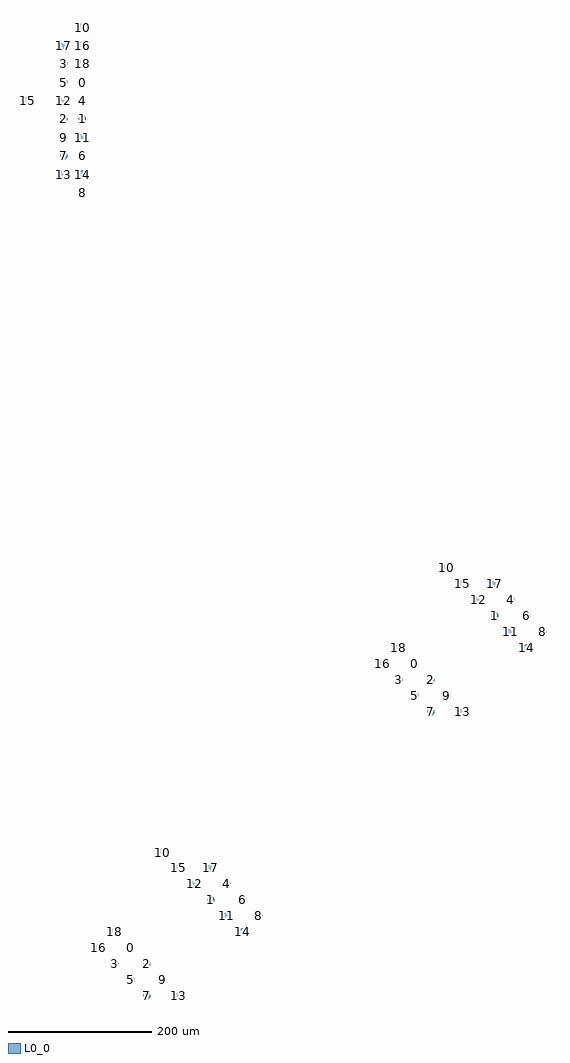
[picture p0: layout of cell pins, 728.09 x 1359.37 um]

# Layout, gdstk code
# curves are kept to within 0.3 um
import gdstk
lib = gdstk.Library(unit=1e-6, precision=1e-09)
def P(c, l, *ps):  # polygons
    for p in ps: c.add(gdstk.Polygon(p, *l))
L0_0 = (0, 0)

pins = lib.new_cell('pins')
P(pins, L0_0, [(4820.42,3707.91),(4820.039,3709.823),(4818.955,3711.445),(4817.333,3712.529),(4815.42,3712.91),(4813.506,3712.529),(4811.884,3711.445),(4810.8,3709.823),(4810.42,3707.91),(4810.8,3705.996),(4811.884,3704.374),(4813.506,3703.29),(4815.42,3702.91),(4817.333,3703.29),(4818.955,3704.374),(4820.039,3705.996)],
  [(5283.57,2897.79),(5283.189,2899.703),(5282.105,2901.325),(5280.483,2902.409),(5278.57,2902.79),(5276.656,2902.409),(5275.034,2901.325),(5273.95,2899.703),(5273.57,2897.79),(5273.95,2895.876),(5275.034,2894.254),(5276.656,2893.17),(5278.57,2892.79),(5280.483,2893.17),(5282.105,2894.254),(5283.189,2895.876)],
  [(4887.9,2502.12),(4887.519,2504.033),(4886.435,2505.655),(4884.813,2506.739),(4882.9,2507.12),(4880.986,2506.739),(4879.364,2505.655),(4878.28,2504.033),(4877.9,2502.12),(4878.28,2500.206),(4879.364,2498.584),(4880.986,2497.5),(4882.9,2497.12),(4884.813,2497.5),(4886.435,2498.584),(4887.519,2500.206)],
  [(4820.42,3656.73),(4820.039,3658.643),(4818.955,3660.265),(4817.333,3661.349),(4815.42,3661.73),(4813.506,3661.349),(4811.884,3660.265),(4810.8,3658.643),(4810.42,3656.73),(4810.8,3654.816),(4811.884,3653.194),(4813.506,3652.11),(4815.42,3651.73),(4817.333,3652.11),(4818.955,3653.194),(4820.039,3654.816)],
  [(5394.92,2964.6),(5394.539,2966.513),(5393.455,2968.135),(5391.833,2969.219),(5389.92,2969.6),(5388.006,2969.219),(5386.384,2968.135),(5385.3,2966.513),(5384.92,2964.6),(5385.3,2962.686),(5386.384,2961.064),(5388.006,2959.98),(5389.92,2959.6),(5391.833,2959.98),(5393.455,2961.064),(5394.539,2962.686)],
  [(4999.25,2568.93),(4998.869,2570.843),(4997.785,2572.465),(4996.163,2573.549),(4994.25,2573.93),(4992.336,2573.549),(4990.714,2572.465),(4989.63,2570.843),(4989.25,2568.93),(4989.63,2567.016),(4990.714,2565.394),(4992.336,2564.31),(4994.25,2563.93),(4996.163,2564.31),(4997.785,2565.394),(4998.869,2567.016)],
  [(4794.83,3656.73),(4794.449,3658.643),(4793.365,3660.265),(4791.743,3661.349),(4789.83,3661.73),(4787.916,3661.349),(4786.294,3660.265),(4785.21,3658.643),(4784.83,3656.73),(4785.21,3654.816),(4786.294,3653.194),(4787.916,3652.11),(4789.83,3651.73),(4791.743,3652.11),(4793.365,3653.194),(4794.449,3654.816)],
  [(5305.84,2875.52),(5305.459,2877.433),(5304.375,2879.055),(5302.753,2880.139),(5300.84,2880.52),(5298.926,2880.139),(5297.304,2879.055),(5296.22,2877.433),(5295.84,2875.52),(5296.22,2873.606),(5297.304,2871.984),(5298.926,2870.9),(5300.84,2870.52),(5302.753,2870.9),(5304.375,2871.984),(5305.459,2873.606)],
  [(4910.17,2479.85),(4909.789,2481.763),(4908.705,2483.385),(4907.083,2484.469),(4905.17,2484.85),(4903.256,2484.469),(4901.634,2483.385),(4900.55,2481.763),(4900.17,2479.85),(4900.55,2477.936),(4901.634,2476.314),(4903.256,2475.23),(4905.17,2474.85),(4907.083,2475.23),(4908.705,2476.314),(4909.789,2477.936)],
  [(4794.83,3733.5),(4794.449,3735.413),(4793.365,3737.035),(4791.743,3738.119),(4789.83,3738.5),(4787.916,3738.119),(4786.294,3737.035),(4785.21,3735.413),(4784.83,3733.5),(4785.21,3731.586),(4786.294,3729.964),(4787.916,3728.88),(4789.83,3728.5),(4791.743,3728.88),(4793.365,3729.964),(4794.449,3731.586)],
  [(5261.29,2875.52),(5260.909,2877.433),(5259.825,2879.055),(5258.203,2880.139),(5256.29,2880.52),(5254.376,2880.139),(5252.754,2879.055),(5251.67,2877.433),(5251.29,2875.52),(5251.67,2873.606),(5252.754,2871.984),(5254.376,2870.9),(5256.29,2870.52),(5258.203,2870.9),(5259.825,2871.984),(5260.909,2873.606)],
  [(4865.62,2479.85),(4865.239,2481.763),(4864.155,2483.385),(4862.533,2484.469),(4860.62,2484.85),(4858.706,2484.469),(4857.084,2483.385),(4856,2481.763),(4855.62,2479.85),(4856,2477.936),(4857.084,2476.314),(4858.706,2475.23),(4860.62,2474.85),(4862.533,2475.23),(4864.155,2476.314),(4865.239,2477.936)],
  [(4820.42,3682.32),(4820.039,3684.233),(4818.955,3685.855),(4817.333,3686.939),(4815.42,3687.32),(4813.506,3686.939),(4811.884,3685.855),(4810.8,3684.233),(4810.42,3682.32),(4810.8,3680.406),(4811.884,3678.784),(4813.506,3677.7),(4815.42,3677.32),(4817.333,3677.7),(4818.955,3678.784),(4820.039,3680.406)],
  [(5417.2,2986.87),(5416.819,2988.783),(5415.735,2990.405),(5414.113,2991.489),(5412.2,2991.87),(5410.286,2991.489),(5408.664,2990.405),(5407.58,2988.783),(5407.2,2986.87),(5407.58,2984.956),(5408.664,2983.334),(5410.286,2982.25),(5412.2,2981.87),(5414.113,2982.25),(5415.735,2983.334),(5416.819,2984.956)],
  [(5021.53,2591.2),(5021.149,2593.113),(5020.065,2594.735),(5018.443,2595.819),(5016.53,2596.2),(5014.616,2595.819),(5012.994,2594.735),(5011.91,2593.113),(5011.53,2591.2),(5011.91,2589.286),(5012.994,2587.664),(5014.616,2586.58),(5016.53,2586.2),(5018.443,2586.58),(5020.065,2587.664),(5021.149,2589.286)],
  [(4794.83,3707.91),(4794.449,3709.823),(4793.365,3711.445),(4791.743,3712.529),(4789.83,3712.91),(4787.916,3712.529),(4786.294,3711.445),(4785.21,3709.823),(4784.83,3707.91),(4785.21,3705.996),(4786.294,3704.374),(4787.916,3703.29),(4789.83,3702.91),(4791.743,3703.29),(4793.365,3704.374),(4794.449,3705.996)],
  [(5283.57,2853.24),(5283.189,2855.153),(5282.105,2856.775),(5280.483,2857.859),(5278.57,2858.24),(5276.656,2857.859),(5275.034,2856.775),(5273.95,2855.153),(5273.57,2853.24),(5273.95,2851.326),(5275.034,2849.704),(5276.656,2848.62),(5278.57,2848.24),(5280.483,2848.62),(5282.105,2849.704),(5283.189,2851.326)],
  [(4887.9,2457.57),(4887.519,2459.483),(4886.435,2461.105),(4884.813,2462.189),(4882.9,2462.57),(4880.986,2462.189),(4879.364,2461.105),(4878.28,2459.483),(4877.9,2457.57),(4878.28,2455.656),(4879.364,2454.034),(4880.986,2452.95),(4882.9,2452.57),(4884.813,2452.95),(4886.435,2454.034),(4887.519,2455.656)],
  [(4820.42,3605.54),(4820.039,3607.453),(4818.955,3609.075),(4817.333,3610.159),(4815.42,3610.54),(4813.506,3610.159),(4811.884,3609.075),(4810.8,3607.453),(4810.42,3605.54),(4810.8,3603.626),(4811.884,3602.004),(4813.506,3600.92),(4815.42,3600.54),(4817.333,3600.92),(4818.955,3602.004),(4820.039,3603.626)],
  [(5439.46,2964.61),(5439.079,2966.523),(5437.995,2968.145),(5436.373,2969.229),(5434.46,2969.61),(5432.546,2969.229),(5430.924,2968.145),(5429.84,2966.523),(5429.46,2964.61),(5429.84,2962.696),(5430.924,2961.074),(5432.546,2959.99),(5434.46,2959.61),(5436.373,2959.99),(5437.995,2961.074),(5439.079,2962.696)],
  [(5043.79,2568.94),(5043.409,2570.853),(5042.325,2572.475),(5040.703,2573.559),(5038.79,2573.94),(5036.876,2573.559),(5035.254,2572.475),(5034.17,2570.853),(5033.79,2568.94),(5034.17,2567.026),(5035.254,2565.404),(5036.876,2564.32),(5038.79,2563.94),(5040.703,2564.32),(5042.325,2565.404),(5043.409,2567.026)],
  [(4794.83,3605.54),(4794.449,3607.453),(4793.365,3609.075),(4791.743,3610.159),(4789.83,3610.54),(4787.916,3610.159),(4786.294,3609.075),(4785.21,3607.453),(4784.83,3605.54),(4785.21,3603.626),(4786.294,3602.004),(4787.916,3600.92),(4789.83,3600.54),(4791.743,3600.92),(4793.365,3602.004),(4794.449,3603.626)],
  [(5305.83,2830.98),(5305.449,2832.893),(5304.365,2834.515),(5302.743,2835.599),(5300.83,2835.98),(5298.916,2835.599),(5297.294,2834.515),(5296.21,2832.893),(5295.83,2830.98),(5296.21,2829.066),(5297.294,2827.444),(5298.916,2826.36),(5300.83,2825.98),(5302.743,2826.36),(5304.365,2827.444),(5305.449,2829.066)],
  [(4910.16,2435.31),(4909.779,2437.223),(4908.695,2438.845),(4907.073,2439.929),(4905.16,2440.31),(4903.246,2439.929),(4901.624,2438.845),(4900.54,2437.223),(4900.16,2435.31),(4900.54,2433.396),(4901.624,2431.774),(4903.246,2430.69),(4905.16,2430.31),(4907.073,2430.69),(4908.695,2431.774),(4909.779,2433.396)],
  [(4820.42,3554.36),(4820.039,3556.273),(4818.955,3557.895),(4817.333,3558.979),(4815.42,3559.36),(4813.506,3558.979),(4811.884,3557.895),(4810.8,3556.273),(4810.42,3554.36),(4810.8,3552.446),(4811.884,3550.824),(4813.506,3549.74),(4815.42,3549.36),(4817.333,3549.74),(4818.955,3550.824),(4820.039,3552.446)],
  [(5461.74,2942.33),(5461.359,2944.243),(5460.275,2945.865),(5458.653,2946.949),(5456.74,2947.33),(5454.826,2946.949),(5453.204,2945.865),(5452.12,2944.243),(5451.74,2942.33),(5452.12,2940.416),(5453.204,2938.794),(5454.826,2937.71),(5456.74,2937.33),(5458.653,2937.71),(5460.275,2938.794),(5461.359,2940.416)],
  [(5066.07,2546.66),(5065.689,2548.573),(5064.605,2550.195),(5062.983,2551.279),(5061.07,2551.66),(5059.156,2551.279),(5057.534,2550.195),(5056.45,2548.573),(5056.07,2546.66),(5056.45,2544.746),(5057.534,2543.124),(5059.156,2542.04),(5061.07,2541.66),(5062.983,2542.04),(5064.605,2543.124),(5065.689,2544.746)],
  [(4794.83,3631.14),(4794.449,3633.053),(4793.365,3634.675),(4791.743,3635.759),(4789.83,3636.14),(4787.916,3635.759),(4786.294,3634.675),(4785.21,3633.053),(4784.83,3631.14),(4785.21,3629.226),(4786.294,3627.604),(4787.916,3626.52),(4789.83,3626.14),(4791.743,3626.52),(4793.365,3627.604),(4794.449,3629.226)],
  [(5328.11,2853.25),(5327.729,2855.163),(5326.645,2856.785),(5325.023,2857.869),(5323.11,2858.25),(5321.196,2857.869),(5319.574,2856.785),(5318.49,2855.163),(5318.11,2853.25),(5318.49,2851.336),(5319.574,2849.714),(5321.196,2848.63),(5323.11,2848.25),(5325.023,2848.63),(5326.645,2849.714),(5327.729,2851.336)],
  [(4932.44,2457.58),(4932.059,2459.493),(4930.975,2461.115),(4929.353,2462.199),(4927.44,2462.58),(4925.526,2462.199),(4923.904,2461.115),(4922.82,2459.493),(4922.44,2457.58),(4922.82,2455.666),(4923.904,2454.044),(4925.526,2452.96),(4927.44,2452.58),(4929.353,2452.96),(4930.975,2454.044),(4932.059,2455.666)],
  [(4820.42,3784.68),(4820.039,3786.593),(4818.955,3788.215),(4817.333,3789.299),(4815.42,3789.68),(4813.506,3789.299),(4811.884,3788.215),(4810.8,3786.593),(4810.42,3784.68),(4810.8,3782.766),(4811.884,3781.144),(4813.506,3780.06),(4815.42,3779.68),(4817.333,3780.06),(4818.955,3781.144),(4820.039,3782.766)],
  [(5328.11,3031.41),(5327.729,3033.323),(5326.645,3034.945),(5325.023,3036.029),(5323.11,3036.41),(5321.196,3036.029),(5319.574,3034.945),(5318.49,3033.323),(5318.11,3031.41),(5318.49,3029.496),(5319.574,3027.874),(5321.196,3026.79),(5323.11,3026.41),(5325.023,3026.79),(5326.645,3027.874),(5327.729,3029.496)],
  [(4932.44,2635.74),(4932.059,2637.653),(4930.975,2639.275),(4929.353,2640.359),(4927.44,2640.74),(4925.526,2640.359),(4923.904,2639.275),(4922.82,2637.653),(4922.44,2635.74),(4922.82,2633.826),(4923.904,2632.204),(4925.526,2631.12),(4927.44,2630.74),(4929.353,2631.12),(4930.975,2632.204),(4932.059,2633.826)],
  [(4820.42,3631.14),(4820.039,3633.053),(4818.955,3634.675),(4817.333,3635.759),(4815.42,3636.14),(4813.506,3635.759),(4811.884,3634.675),(4810.8,3633.053),(4810.42,3631.14),(4810.8,3629.226),(4811.884,3627.604),(4813.506,3626.52),(4815.42,3626.14),(4817.333,3626.52),(4818.955,3627.604),(4820.039,3629.226)],
  [(5417.19,2942.33),(5416.809,2944.243),(5415.725,2945.865),(5414.103,2946.949),(5412.19,2947.33),(5410.276,2946.949),(5408.654,2945.865),(5407.57,2944.243),(5407.19,2942.33),(5407.57,2940.416),(5408.654,2938.794),(5410.276,2937.71),(5412.19,2937.33),(5414.103,2937.71),(5415.725,2938.794),(5416.809,2940.416)],
  [(5021.52,2546.66),(5021.139,2548.573),(5020.055,2550.195),(5018.433,2551.279),(5016.52,2551.66),(5014.606,2551.279),(5012.984,2550.195),(5011.9,2548.573),(5011.52,2546.66),(5011.9,2544.746),(5012.984,2543.124),(5014.606,2542.04),(5016.52,2541.66),(5018.433,2542.04),(5020.055,2543.124),(5021.139,2544.746)],
  [(4794.83,3682.32),(4794.449,3684.233),(4793.365,3685.855),(4791.743,3686.939),(4789.83,3687.32),(4787.916,3686.939),(4786.294,3685.855),(4785.21,3684.233),(4784.83,3682.32),(4785.21,3680.406),(4786.294,3678.784),(4787.916,3677.7),(4789.83,3677.32),(4791.743,3677.7),(4793.365,3678.784),(4794.449,3680.406)],
  [(5372.65,2986.87),(5372.269,2988.783),(5371.185,2990.405),(5369.563,2991.489),(5367.65,2991.87),(5365.736,2991.489),(5364.114,2990.405),(5363.03,2988.783),(5362.65,2986.87),(5363.03,2984.956),(5364.114,2983.334),(5365.736,2982.25),(5367.65,2981.87),(5369.563,2982.25),(5371.185,2983.334),(5372.269,2984.956)],
  [(4976.98,2591.2),(4976.599,2593.113),(4975.515,2594.735),(4973.893,2595.819),(4971.98,2596.2),(4970.066,2595.819),(4968.444,2594.735),(4967.36,2593.113),(4966.98,2591.2),(4967.36,2589.286),(4968.444,2587.664),(4970.066,2586.58),(4971.98,2586.2),(4973.893,2586.58),(4975.515,2587.664),(4976.599,2589.286)],
  [(4794.83,3579.95),(4794.449,3581.863),(4793.365,3583.485),(4791.743,3584.569),(4789.83,3584.95),(4787.916,3584.569),(4786.294,3583.485),(4785.21,3581.863),(4784.83,3579.95),(4785.21,3578.036),(4786.294,3576.414),(4787.916,3575.33),(4789.83,3574.95),(4791.743,3575.33),(4793.365,3576.414),(4794.449,3578.036)],
  [(5350.38,2830.98),(5349.999,2832.893),(5348.915,2834.515),(5347.293,2835.599),(5345.38,2835.98),(5343.466,2835.599),(5341.844,2834.515),(5340.76,2832.893),(5340.38,2830.98),(5340.76,2829.066),(5341.844,2827.444),(5343.466,2826.36),(5345.38,2825.98),(5347.293,2826.36),(5348.915,2827.444),(5349.999,2829.066)],
  [(4954.71,2435.31),(4954.329,2437.223),(4953.245,2438.845),(4951.623,2439.929),(4949.71,2440.31),(4947.796,2439.929),(4946.174,2438.845),(4945.09,2437.223),(4944.71,2435.31),(4945.09,2433.396),(4946.174,2431.774),(4947.796,2430.69),(4949.71,2430.31),(4951.623,2430.69),(4953.245,2431.774),(4954.329,2433.396)],
  [(4820.42,3579.95),(4820.039,3581.863),(4818.955,3583.485),(4817.333,3584.569),(4815.42,3584.95),(4813.506,3584.569),(4811.884,3583.485),(4810.8,3581.863),(4810.42,3579.95),(4810.8,3578.036),(4811.884,3576.414),(4813.506,3575.33),(4815.42,3574.95),(4817.333,3575.33),(4818.955,3576.414),(4820.039,3578.036)],
  [(5439.46,2920.06),(5439.079,2921.973),(5437.995,2923.595),(5436.373,2924.679),(5434.46,2925.06),(5432.546,2924.679),(5430.924,2923.595),(5429.84,2921.973),(5429.46,2920.06),(5429.84,2918.146),(5430.924,2916.524),(5432.546,2915.44),(5434.46,2915.06),(5436.373,2915.44),(5437.995,2916.524),(5439.079,2918.146)],
  [(5043.79,2524.39),(5043.409,2526.303),(5042.325,2527.925),(5040.703,2529.009),(5038.79,2529.39),(5036.876,2529.009),(5035.254,2527.925),(5034.17,2526.303),(5033.79,2524.39),(5034.17,2522.476),(5035.254,2520.854),(5036.876,2519.77),(5038.79,2519.39),(5040.703,2519.77),(5042.325,2520.854),(5043.409,2522.476)],
  [(4743.65,3682.32),(4743.269,3684.233),(4742.185,3685.855),(4740.563,3686.939),(4738.65,3687.32),(4736.736,3686.939),(4735.114,3685.855),(4734.03,3684.233),(4733.65,3682.32),(4734.03,3680.406),(4735.114,3678.784),(4736.736,3677.7),(4738.65,3677.32),(4740.563,3677.7),(4742.185,3678.784),(4743.269,3680.406)],
  [(5350.38,3009.14),(5349.999,3011.053),(5348.915,3012.675),(5347.293,3013.759),(5345.38,3014.14),(5343.466,3013.759),(5341.844,3012.675),(5340.76,3011.053),(5340.38,3009.14),(5340.76,3007.226),(5341.844,3005.604),(5343.466,3004.52),(5345.38,3004.14),(5347.293,3004.52),(5348.915,3005.604),(5349.999,3007.226)],
  [(4954.71,2613.47),(4954.329,2615.383),(4953.245,2617.005),(4951.623,2618.089),(4949.71,2618.47),(4947.796,2618.089),(4946.174,2617.005),(4945.09,2615.383),(4944.71,2613.47),(4945.09,2611.556),(4946.174,2609.934),(4947.796,2608.85),(4949.71,2608.47),(4951.623,2608.85),(4953.245,2609.934),(4954.329,2611.556)],
  [(4820.42,3759.09),(4820.039,3761.003),(4818.955,3762.625),(4817.333,3763.709),(4815.42,3764.09),(4813.506,3763.709),(4811.884,3762.625),(4810.8,3761.003),(4810.42,3759.09),(4810.8,3757.176),(4811.884,3755.554),(4813.506,3754.47),(4815.42,3754.09),(4817.333,3754.47),(4818.955,3755.554),(4820.039,3757.176)],
  [(5239.03,2897.78),(5238.649,2899.693),(5237.565,2901.315),(5235.943,2902.399),(5234.03,2902.78),(5232.116,2902.399),(5230.494,2901.315),(5229.41,2899.693),(5229.03,2897.78),(5229.41,2895.866),(5230.494,2894.244),(5232.116,2893.16),(5234.03,2892.78),(5235.943,2893.16),(5237.565,2894.244),(5238.649,2895.866)],
  [(4843.36,2502.11),(4842.979,2504.023),(4841.895,2505.645),(4840.273,2506.729),(4838.36,2507.11),(4836.446,2506.729),(4834.824,2505.645),(4833.74,2504.023),(4833.36,2502.11),(4833.74,2500.196),(4834.824,2498.574),(4836.446,2497.49),(4838.36,2497.11),(4840.273,2497.49),(4841.895,2498.574),(4842.979,2500.196)],
  [(4794.83,3759.09),(4794.449,3761.003),(4793.365,3762.625),(4791.743,3763.709),(4789.83,3764.09),(4787.916,3763.709),(4786.294,3762.625),(4785.21,3761.003),(4784.83,3759.09),(4785.21,3757.176),(4786.294,3755.554),(4787.916,3754.47),(4789.83,3754.09),(4791.743,3754.47),(4793.365,3755.554),(4794.449,3757.176)],
  [(5394.92,3009.15),(5394.539,3011.063),(5393.455,3012.685),(5391.833,3013.769),(5389.92,3014.15),(5388.006,3013.769),(5386.384,3012.685),(5385.3,3011.063),(5384.92,3009.15),(5385.3,3007.236),(5386.384,3005.614),(5388.006,3004.53),(5389.92,3004.15),(5391.833,3004.53),(5393.455,3005.614),(5394.539,3007.236)],
  [(4999.25,2613.48),(4998.869,2615.393),(4997.785,2617.015),(4996.163,2618.099),(4994.25,2618.48),(4992.336,2618.099),(4990.714,2617.015),(4989.63,2615.393),(4989.25,2613.48),(4989.63,2611.566),(4990.714,2609.944),(4992.336,2608.86),(4994.25,2608.48),(4996.163,2608.86),(4997.785,2609.944),(4998.869,2611.566)],
  [(4820.42,3733.5),(4820.039,3735.413),(4818.955,3737.035),(4817.333,3738.119),(4815.42,3738.5),(4813.506,3738.119),(4811.884,3737.035),(4810.8,3735.413),(4810.42,3733.5),(4810.8,3731.586),(4811.884,3729.964),(4813.506,3728.88),(4815.42,3728.5),(4817.333,3728.88),(4818.955,3729.964),(4820.039,3731.586)],
  [(5261.3,2920.06),(5260.919,2921.973),(5259.835,2923.595),(5258.213,2924.679),(5256.3,2925.06),(5254.386,2924.679),(5252.764,2923.595),(5251.68,2921.973),(5251.3,2920.06),(5251.68,2918.146),(5252.764,2916.524),(5254.386,2915.44),(5256.3,2915.06),(5258.213,2915.44),(5259.835,2916.524),(5260.919,2918.146)],
  [(4865.63,2524.39),(4865.249,2526.303),(4864.165,2527.925),(4862.543,2529.009),(4860.63,2529.39),(4858.716,2529.009),(4857.094,2527.925),(4856.01,2526.303),(4855.63,2524.39),(4856.01,2522.476),(4857.094,2520.854),(4858.716,2519.77),(4860.63,2519.39),(4862.543,2519.77),(4864.165,2520.854),(4865.249,2522.476)])
pins.add(gdstk.Label('0', (4815.42,3707.91), layer=255, texttype=0))
pins.add(gdstk.Label('0', (5278.57,2897.79), layer=255, texttype=0))
pins.add(gdstk.Label('0', (4882.9,2502.12), layer=255, texttype=0))
pins.add(gdstk.Label('1', (4815.42,3656.73), layer=255, texttype=1))
pins.add(gdstk.Label('1', (5389.92,2964.6), layer=255, texttype=1))
pins.add(gdstk.Label('1', (4994.25,2568.93), layer=255, texttype=1))
pins.add(gdstk.Label('2', (4789.83,3656.73), layer=255, texttype=2))
pins.add(gdstk.Label('2', (5300.84,2875.52), layer=255, texttype=2))
pins.add(gdstk.Label('2', (4905.17,2479.85), layer=255, texttype=2))
pins.add(gdstk.Label('3', (4789.83,3733.5), layer=255, texttype=3))
pins.add(gdstk.Label('3', (5256.29,2875.52), layer=255, texttype=3))
pins.add(gdstk.Label('3', (4860.62,2479.85), layer=255, texttype=3))
pins.add(gdstk.Label('4', (4815.42,3682.32), layer=255, texttype=4))
pins.add(gdstk.Label('4', (5412.2,2986.87), layer=255, texttype=4))
pins.add(gdstk.Label('4', (5016.53,2591.2), layer=255, texttype=4))
pins.add(gdstk.Label('5', (4789.83,3707.91), layer=255, texttype=5))
pins.add(gdstk.Label('5', (5278.57,2853.24), layer=255, texttype=5))
pins.add(gdstk.Label('5', (4882.9,2457.57), layer=255, texttype=5))
pins.add(gdstk.Label('6', (4815.42,3605.54), layer=255, texttype=6))
pins.add(gdstk.Label('6', (5434.46,2964.61), layer=255, texttype=6))
pins.add(gdstk.Label('6', (5038.79,2568.94), layer=255, texttype=6))
pins.add(gdstk.Label('7', (4789.83,3605.54), layer=255, texttype=7))
pins.add(gdstk.Label('7', (5300.83,2830.98), layer=255, texttype=7))
pins.add(gdstk.Label('7', (4905.16,2435.31), layer=255, texttype=7))
pins.add(gdstk.Label('8', (4815.42,3554.36), layer=255, texttype=8))
pins.add(gdstk.Label('8', (5456.74,2942.33), layer=255, texttype=8))
pins.add(gdstk.Label('8', (5061.07,2546.66), layer=255, texttype=8))
pins.add(gdstk.Label('9', (4789.83,3631.14), layer=255, texttype=9))
pins.add(gdstk.Label('9', (5323.11,2853.25), layer=255, texttype=9))
pins.add(gdstk.Label('9', (4927.44,2457.58), layer=255, texttype=9))
pins.add(gdstk.Label('10', (4815.42,3784.68), layer=255, texttype=10))
pins.add(gdstk.Label('10', (5323.11,3031.41), layer=255, texttype=10))
pins.add(gdstk.Label('10', (4927.44,2635.74), layer=255, texttype=10))
pins.add(gdstk.Label('11', (4815.42,3631.14), layer=255, texttype=11))
pins.add(gdstk.Label('11', (5412.19,2942.33), layer=255, texttype=11))
pins.add(gdstk.Label('11', (5016.52,2546.66), layer=255, texttype=11))
pins.add(gdstk.Label('12', (4789.83,3682.32), layer=255, texttype=12))
pins.add(gdstk.Label('12', (5367.65,2986.87), layer=255, texttype=12))
pins.add(gdstk.Label('12', (4971.98,2591.2), layer=255, texttype=12))
pins.add(gdstk.Label('13', (4789.83,3579.95), layer=255, texttype=13))
pins.add(gdstk.Label('13', (5345.38,2830.98), layer=255, texttype=13))
pins.add(gdstk.Label('13', (4949.71,2435.31), layer=255, texttype=13))
pins.add(gdstk.Label('14', (4815.42,3579.95), layer=255, texttype=14))
pins.add(gdstk.Label('14', (5434.46,2920.06), layer=255, texttype=14))
pins.add(gdstk.Label('14', (5038.79,2524.39), layer=255, texttype=14))
pins.add(gdstk.Label('15', (4738.65,3682.32), layer=255, texttype=15))
pins.add(gdstk.Label('15', (5345.38,3009.14), layer=255, texttype=15))
pins.add(gdstk.Label('15', (4949.71,2613.47), layer=255, texttype=15))
pins.add(gdstk.Label('16', (4815.42,3759.09), layer=255, texttype=16))
pins.add(gdstk.Label('16', (5234.03,2897.78), layer=255, texttype=16))
pins.add(gdstk.Label('16', (4838.36,2502.11), layer=255, texttype=16))
pins.add(gdstk.Label('17', (4789.83,3759.09), layer=255, texttype=17))
pins.add(gdstk.Label('17', (5389.92,3009.15), layer=255, texttype=17))
pins.add(gdstk.Label('17', (4994.25,2613.48), layer=255, texttype=17))
pins.add(gdstk.Label('18', (4815.42,3733.5), layer=255, texttype=18))
pins.add(gdstk.Label('18', (5256.3,2920.06), layer=255, texttype=18))
pins.add(gdstk.Label('18', (4860.63,2524.39), layer=255, texttype=18))

lib.write_gds('pins.gds')
